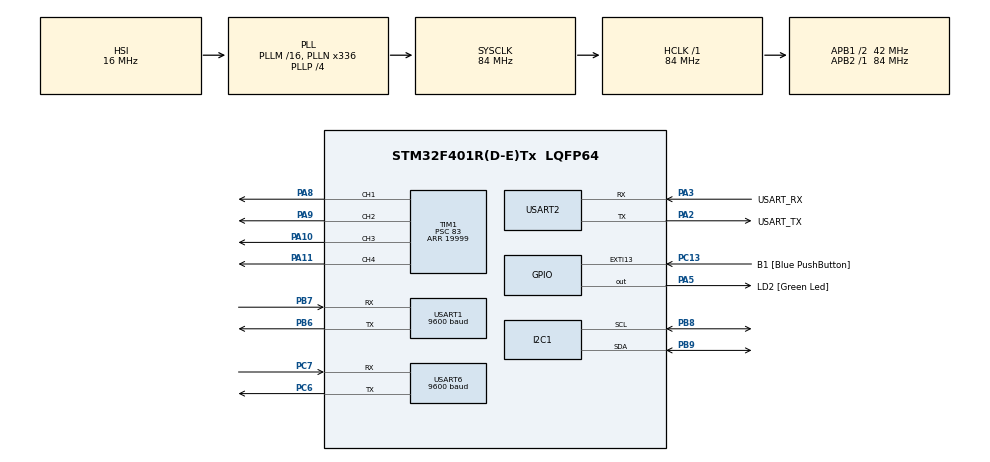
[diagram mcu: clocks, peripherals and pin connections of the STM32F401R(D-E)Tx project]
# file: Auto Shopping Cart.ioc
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Mcu.Family=STM32F4
Mcu.Name=STM32F401R(D-E)Tx
Mcu.Package=LQFP64
NVIC.PriorityGroup=NVIC_PRIORITYGROUP_0
NVIC.TIM2_IRQn=true\:0\:0\:false\:false\:true\:true\:true\:true
NVIC.TIM3_IRQn=true\:0\:0\:false\:false\:true\:true\:true\:true
NVIC.USART1_IRQn=true\:0\:0\:false\:false\:true\:true\:true\:true
NVIC.USART6_IRQn=true\:0\:0\:false\:false\:true\:true\:true\:true
PA10.Signal=S_TIM1_CH3
PA11.Signal=S_TIM1_CH4
PA13.GPIO_Label=TMS
PA13.Mode=Serial_Wire
PA13.Signal=SYS_JTMS-SWDIO
PA14.GPIO_Label=TCK
PA14.Mode=Serial_Wire
PA14.Signal=SYS_JTCK-SWCLK
PA2.GPIO_Label=USART_TX
PA2.GPIO_Mode=GPIO_MODE_AF_PP
PA2.GPIO_PuPd=GPIO_NOPULL
PA2.GPIO_Speed=GPIO_SPEED_FREQ_LOW
PA2.Mode=Asynchronous
PA2.Signal=USART2_TX
PA3.GPIO_Label=USART_RX
PA3.GPIO_Mode=GPIO_MODE_AF_PP
PA3.GPIO_PuPd=GPIO_NOPULL
PA3.GPIO_Speed=GPIO_SPEED_FREQ_LOW
PA3.Mode=Asynchronous
PA3.Signal=USART2_RX
PA5.GPIO_Label=LD2 [Green Led]
PA5.GPIO_Mode=GPIO_MODE_OUTPUT_PP
PA5.GPIO_PuPd=GPIO_NOPULL
PA5.GPIO_Speed=GPIO_SPEED_FREQ_LOW
PA5.Signal=GPIO_Output
PA8.Signal=S_TIM1_CH1
PA9.Signal=S_TIM1_CH2
PB3.GPIO_Label=SWO
PB3.Signal=SYS_JTDO-SWO
PB6.Mode=Asynchronous
PB6.Signal=USART1_TX
PB7.Mode=Asynchronous
PB7.Signal=USART1_RX
PB8.Mode=I2C
PB8.Signal=I2C1_SCL
PB9.Mode=I2C
PB9.Signal=I2C1_SDA
PC13-ANTI_TAMP.GPIO_Label=B1 [Blue PushButton]
PC13-ANTI_TAMP.GPIO_ModeDefaultEXTI=GPIO_MODE_IT_FALLING
PC13-ANTI_TAMP.GPIO_PuPd=GPIO_NOPULL
PC13-ANTI_TAMP.Signal=GPXTI13
PC14-OSC32_IN.Mode=LSE-External-Oscillator
PC14-OSC32_IN.Signal=RCC_OSC32_IN
PC15-OSC32_OUT.Mode=LSE-External-Oscillator
PC15-OSC32_OUT.Signal=RCC_OSC32_OUT
PC6.Mode=Asynchronous
PC6.Signal=USART6_TX
PC7.Mode=Asynchronous
PC7.Signal=USART6_RX
PH0\ -\ OSC_IN.Mode=HSE-External-Clock-Source
PH0\ -\ OSC_IN.Signal=RCC_OSC_IN
PH1\ -\ OSC_OUT.Mode=HSE-External-Clock-Source
PH1\ -\ OSC_OUT.Signal=RCC_OSC_OUT
ProjectManager.HeapSize=0x200
ProjectManager.StackSize=0x400
ProjectManager.TargetToolchain=STM32CubeIDE
RCC.48MHZClocksFreq_Value=48000000
RCC.AHBFreq_Value=84000000
RCC.APB1CLKDivider=RCC_HCLK_DIV2
RCC.APB1Freq_Value=42000000
RCC.APB1TimFreq_Value=84000000
RCC.APB2Freq_Value=84000000
RCC.APB2TimFreq_Value=84000000
RCC.CortexFreq_Value=84000000
RCC.HCLKFreq_Value=84000000
RCC.HSE_VALUE=8000000
RCC.HSI_VALUE=16000000
RCC.PLLN=336
RCC.PLLP=RCC_PLLP_DIV4
RCC.PLLQ=7
RCC.SYSCLKFreq_VALUE=84000000
RCC.SYSCLKSource=RCC_SYSCLKSOURCE_PLLCLK
RCC.VCOOutputFreq_Value=336000000
SH.S_TIM1_CH1.0=TIM1_CH1,PWM Generation1 CH1
SH.S_TIM1_CH2.0=TIM1_CH2,PWM Generation2 CH2
SH.S_TIM1_CH3.0=TIM1_CH3,PWM Generation3 CH3
SH.S_TIM1_CH4.0=TIM1_CH4,PWM Generation4 CH4
TIM1.Channel-PWM\ Generation1\ CH1=TIM_CHANNEL_1
TIM1.Channel-PWM\ Generation2\ CH2=TIM_CHANNEL_2
TIM1.Channel-PWM\ Generation3\ CH3=TIM_CHANNEL_3
TIM1.Channel-PWM\ Generation4\ CH4=TIM_CHANNEL_4
TIM1.Period=19999
TIM1.Prescaler=83
TIM2.Period=799
TIM2.Prescaler=8399
TIM3.Prescaler=8399
USART1.BaudRate=9600
USART1.VirtualMode=VM_ASYNC
USART2.VirtualMode=VM_ASYNC
USART6.BaudRate=9600
USART6.VirtualMode=VM_ASYNC
VP_TIM1_VS_ClockSourceINT.Mode=Internal
VP_TIM2_VS_ClockSourceINT.Mode=Internal
VP_TIM3_VS_ClockSourceINT.Mode=Internal
board=NUCLEO-F401RE

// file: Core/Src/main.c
/* USER CODE BEGIN Header */
/**
  ******************************************************************************
  * @file           : main.c
  * @brief          : Main program body
  ******************************************************************************
  * @attention
  *
  * Copyright (c) 2025 STMicroelectronics.
  * All rights reserved.
  *
  * This software is licensed under terms that can be found in the LICENSE file
  * in the root directory of this software component.
  * If no LICENSE file comes with this software, it is provided AS-IS.
  *
  ******************************************************************************
  */
/* USER CODE END Header */
#include "main.h"

/* USER CODE BEGIN Includes */
#include <stdio.h>
#include <stdbool.h>
#include "math.h"
#include "string.h"

/* USER CODE END Includes */

/* USER CODE BEGIN PD */
#define ADS1219_ADDR 		0x45 << 1

#define ADS1219_RDATA 		0x10
#define ADS1219_WREG 		0x40
#define ADS1219_STARTSYNC 	0x08

#define WEIGHT_THRESHOLD	0.040

#define TIM1_ARR 			19999

// Servos 1 and 3 on pitch axis, servos 2 and 4 on yaw axis
#define SERVO_DUTY_MIN 		650.0
#define SERVO_DUTY_BW		1700.0
#define SERVO_ANGLE_MAX		180

#define SERVO1_START 		0
#define SERVO1_END			93
#define SERVO1_MAX_SPEED	12

#define SERVO2_START		30
#define SERVO2_END			160
#define SERVO2_SPEED		0.75

#define SERVO3_START 		0
#define SERVO3_END			93
#define SERVO3_MAX_SPEED	12

#define SERVO4_START		30
#define SERVO4_END			160
#define SERVO4_SPEED		0.75

#define FINAL_SWEEP_COUNTS	20

#define MAX_BARCODE_LEN		20
#define MAX_BARCODES		100

/* USER CODE END PD */

I2C_HandleTypeDef hi2c1;

TIM_HandleTypeDef htim1;
TIM_HandleTypeDef htim2;
TIM_HandleTypeDef htim3;

UART_HandleTypeDef huart1;
UART_HandleTypeDef huart2;
UART_HandleTypeDef huart6;

/* USER CODE BEGIN PV */
// Flags for determining which step of the automation process to run
bool servoFlag = false;
bool scannersEnable = false;
bool resetScanners = true;

bool recordWeightFlag = false;
bool scaleEnable = true;

// Placeholder/variables for handling UART transmissions
uint8_t uartRxBuffer[MAX_BARCODES][MAX_BARCODE_LEN] = {0};
uint8_t uartTxBuffer[MAX_BARCODE_LEN + 2] = {0};
uint8_t txLen = 0;
volatile uint8_t barcodeIndex = 0;
volatile uint8_t charIndex = 0;
uint8_t rxChar;

// Local database of known barcodes and their corresponding weights
// In order: Lime juice, cereal box, pasta bag, "milk"
uint8_t codesDatabase[5][MAX_BARCODE_LEN] = {"065912581221", "064100147638", "067800007141", "066800004020"};
uint16_t weightsDatabase[5] = {498, 463, 807, 1904};

/* USER CODE END PV */

void SystemClock_Config(void);
static void MX_GPIO_Init(void);
static void MX_USART2_UART_Init(void);
static void MX_TIM1_Init(void);
static void MX_TIM2_Init(void);
static void MX_I2C1_Init(void);
static void MX_TIM3_Init(void);
static void MX_USART1_UART_Init(void);
static void MX_USART6_UART_Init(void);
/* USER CODE BEGIN PFP */
void SetServoAngle (uint32_t channel, uint8_t angle);
uint8_t inList(uint8_t *string, uint8_t (*strList)[MAX_BARCODE_LEN]);
float max(float a, float b);
uint32_t maxInt(uint32_t a, uint32_t b);

/* USER CODE END PFP */

/* USER CODE BEGIN 0 */
// Redirecting the printf function to print to the console (over UART2)
int _write(int file, char *data, int len) {
    // Redirect printf to UART
    HAL_UART_Transmit(&huart2, (uint8_t*)data, len, HAL_MAX_DELAY);
    return len;
}
/* USER CODE END 0 */

int main(void)
{

  /* MCU Configuration--------------------------------------------------------*/

  /* Reset of all peripherals, Initializes the Flash interface and the Systick. */
  HAL_Init();

  /* Configure the system clock */
  SystemClock_Config();

  /* Initialize all configured peripherals */
  MX_GPIO_Init();
  MX_USART2_UART_Init();
  MX_TIM1_Init();
  MX_TIM2_Init();
  MX_I2C1_Init();
  MX_TIM3_Init();
  MX_USART1_UART_Init();
  MX_USART6_UART_Init();
  /* USER CODE BEGIN 2 */
  // Initializing variables for servo motor control
  uint8_t servoAng1 = SERVO1_START;
  uint8_t servoDir1 = 1;
  uint8_t servoSpeed1 = 0;
  float servoSpeedCalc1 = 0;

  float servoAng2 = SERVO2_START;
  uint8_t servoDir2 = 1;

  uint8_t servoAng3 = SERVO3_START;
  uint8_t servoDir3 = 1;
  uint8_t servoSpeed3 = 0;
  float servoSpeedCalc3 = 0;

  float servoAng4 = SERVO2_START;
  uint8_t servoDir4 = 1;

  bool finalSweep = false;
  uint8_t finalSweepCount =  0;

  // Buffers for TX/RX data of I2C bus
  uint8_t txData[3] = {0};
  uint8_t rxData[3] = {0};

  // Variables and arrays for storing load cell readings
  int32_t rawLoadCell1 = 0;
  int32_t rawLoadCell2 = 0;

  int32_t LoadCell1_Offset = 0;
  int32_t LoadCell2_OffsetA = 0;
  int32_t LoadCell2_OffsetB = 0;

  int32_t rawData1[25] = {0};
  int32_t rawData2[25] = {0};
  int32_t avg1 = 0;
  int32_t avg2 = 0;

  float lsbToKg = 0.000256;
  float kilograms = 0;
  float prevKilograms = 0;
  float recordedWeight = 0;
  float totalWeight = 0;
  char weightMsg[20] = {0};

  // Arrays to track barcodes for items currently in the cart and prioritize scanned barcodes
  uint8_t cartCodes[MAX_BARCODES][MAX_BARCODE_LEN] = {0};
  uint8_t cartNumItems = 0;
  uint8_t priorities[MAX_BARCODES] = {0};
  uint8_t sendCodes[MAX_BARCODES] = {0};
  float remainingWeight = 0;
  float itemWeight = 0;
  bool sentCode = false;

  // Configure the ADS1219 to do continuous conversion, start with AIN0/1 load cell, use internal 2.048V reference and 90 SPS data rate
  txData[0] = ADS1219_WREG;
  txData[1] = 0x16;
  HAL_I2C_Master_Transmit(&hi2c1, ADS1219_ADDR, txData, 2, HAL_MAX_DELAY);

  // Send the START/SYNC command to start continuous conversions
  txData[0] = ADS1219_STARTSYNC;
  HAL_I2C_Master_Transmit(&hi2c1, ADS1219_ADDR, txData, 1, HAL_MAX_DELAY);

  // Average 100 measurements to get the offset for each load cell
  for (int i = 0; i < 100; i++) {
	  // Configure ADS1219 MUX to measure AIN0/1 load cell
	  txData[0] = ADS1219_WREG;
	  txData[1] = 0x16;
	  HAL_I2C_Master_Transmit(&hi2c1, ADS1219_ADDR, txData, 2, HAL_MAX_DELAY);
	  // Wait a bit to take the measurements
	  HAL_Delay(15);
	  // Read the measurement and store it
	  txData[0] = ADS1219_RDATA;
	  HAL_I2C_Master_Transmit(&hi2c1, ADS1219_ADDR, txData, 1, HAL_MAX_DELAY);
	  rxData[0] = 0x00;
	  rxData[1] = 0x00;
	  rxData[2] = 0x00;
	  HAL_I2C_Master_Receive(&hi2c1, ADS1219_ADDR, rxData, 3, HAL_MAX_DELAY);
	  rawLoadCell1 = (rxData[0] << 16) | (rxData[1] << 8) | rxData[2];
	  avg1 += rawLoadCell1;

	  // Configure ADS1115 MUX to measure AIN2/3 load cell
	  txData[0] = ADS1219_WREG;
	  txData[1] = 0x36;
	  HAL_I2C_Master_Transmit(&hi2c1, ADS1219_ADDR, txData, 2, HAL_MAX_DELAY);
	  // Wait a bit to take the measurements
	  HAL_Delay(15);
	  // Read the measurement and store it
	  txData[0] = ADS1219_RDATA;
	  HAL_I2C_Master_Transmit(&hi2c1, ADS1219_ADDR, txData, 1, HAL_MAX_DELAY);
	  rxData[0] = 0x00;
	  rxData[1] = 0x00;
	  rxData[2] = 0x00;
	  HAL_I2C_Master_Receive(&hi2c1, ADS1219_ADDR, rxData, 3, HAL_MAX_DELAY);
	  rawLoadCell2 = (rxData[0] << 16) | (rxData[1] << 8) | rxData[2];
	  avg2 += rawLoadCell2;
  }

  avg1 = avg1/100;
  avg2 = avg2/100;
  LoadCell1_Offset = avg1;
  LoadCell2_OffsetA = avg2;
  LoadCell2_OffsetB = avg2;

//  printf("Calculated the following offsets: %ld for cell A, %ld for cell B\r\n", LoadCell1_Offset, LoadCell2_OffsetA);

  // Startup for servo motors
  HAL_TIM_PWM_Start(&htim1, TIM_CHANNEL_1);
  HAL_TIM_PWM_Start(&htim1, TIM_CHANNEL_2);
  HAL_TIM_PWM_Start(&htim1, TIM_CHANNEL_3);
  HAL_TIM_PWM_Start(&htim1, TIM_CHANNEL_4);
  SetServoAngle(TIM_CHANNEL_1, SERVO1_START);
  SetServoAngle(TIM_CHANNEL_2, SERVO2_START);
  SetServoAngle(TIM_CHANNEL_3, SERVO3_START);
  SetServoAngle(TIM_CHANNEL_4, SERVO4_START);
  HAL_Delay(3000);
  HAL_TIM_Base_Start_IT(&htim2);
  HAL_TIM_Base_Start_IT(&htim3);

  /* USER CODE END 2 */

  /* Infinite loop */
  /* USER CODE BEGIN WHILE */
  while (1)
  {
	  // Reset position of barcode scanners if flagged to do so
	  if (resetScanners) {
		  SetServoAngle(TIM_CHANNEL_1, SERVO1_START);
		  SetServoAngle(TIM_CHANNEL_2, SERVO2_START);
		  SetServoAngle(TIM_CHANNEL_3, SERVO3_START);
		  SetServoAngle(TIM_CHANNEL_4, SERVO4_START);

		  servoAng1 = SERVO1_START;
		  servoDir1 = 1;
		  servoSpeed1 = 0;
		  servoSpeedCalc1 = 0;
		  servoAng2 = SERVO2_START;
		  servoDir2 = 1;
		  servoAng3 = SERVO3_START;
		  servoDir1 = 1;
		  servoSpeed3 = 0;
		  servoSpeedCalc3 = 0;
		  servoAng4 = SERVO4_START;
		  servoDir4 = 1;
		  finalSweep = false;
		  finalSweepCount = 0;

		  resetScanners = false;
		  scaleEnable = true;

		  // Disable any reception from barcode scanners over UART
		  HAL_UART_DeInit(&huart1);
		  HAL_UART_DeInit(&huart6);

//		  printf("\nScan complete, resetting scanner position...\r\n");
	  }
	  // Sweep the barcode scanners across the cart
	  if (scannersEnable) {
		  // Update servo positions when timer interrupt flag raised
		  if (servoFlag) {
			  servoFlag = 0;

			  // Servo 1 & 3 (pitch axis): Update speed using a quadratic equation
			  servoSpeedCalc1 = SERVO1_MAX_SPEED*(-0.000395501*servoAng1*servoAng1 + 0.0379681*servoAng1 + 0.0896552);
			  servoSpeed1 = ((uint8_t)servoSpeedCalc1);
			  servoAng1 += servoSpeed1*servoDir1;

			  servoSpeedCalc3 = SERVO3_MAX_SPEED*(-0.000395501*servoAng3*servoAng3 + 0.0379681*servoAng3 + 0.0896552);
			  servoSpeed3 = ((uint8_t)servoSpeedCalc3);
			  servoAng3 += servoSpeed3*servoDir3;
			  // Switch direction if max/min value reached
			  if (servoAng1 >= SERVO1_END) servoDir1 = -1;
			  if (servoAng1 <= SERVO1_START) servoDir1 = 1;
			  if (servoAng3 >= SERVO3_END) servoDir3 = -1;
			  if (servoAng3 <= SERVO3_START) servoDir3 = 1;

			  SetServoAngle(TIM_CHANNEL_1, servoAng1);
			  SetServoAngle(TIM_CHANNEL_3, servoAng3);

			  // Servo 2 & 4 (yaw axis): Increment position by speed value
			  if (servoAng2 <= SERVO2_END) servoAng2 += SERVO2_SPEED*servoDir2;
			  if (servoAng4 <= SERVO4_END) servoAng4 += SERVO4_SPEED*servoDir4;
			  // If max value reached on yaw axis, reset the scanners (sweep is complete) and re-enable the scale
//			  if (servoAng2 >= SERVO2_END || servoAng4 >= SERVO4_END) {
//				  scannersEnable = false;
//				  resetScanners = true;
//			  }
			  // If max value reached on yaw axis, do one final sweep then reset the scanners and re-enable the scale
			  if (servoAng2 >= SERVO2_END || servoAng4 >= SERVO4_END) {
				  finalSweep = true;
			  }
			  if (finalSweep) {
				  finalSweepCount += 1;
			  }
			  if (finalSweepCount >= FINAL_SWEEP_COUNTS) {
				  scannersEnable = false;
				  resetScanners = true;

				  // Output all barcodes received
//				  if (barcodeIndex > 0) {
////					  printf("\nReceived %d barcodes:\r\n", barcodeIndex);
//					  for (int i = 0; i < barcodeIndex; i++) {
//						  for (int j = 0; j < MAX_BARCODE_LEN; j++) {
//							  if (uartRxBuffer[i][j] == '\0') {
//								  txLen = j-1;
//								  break;
//							  }
//							  uartTxBuffer[j] = uartRxBuffer[i][j];
//						  }
//						  HAL_UART_Transmit(&huart2, uartTxBuffer, (txLen + 1), HAL_MAX_DELAY);
//						  HAL_UART_Transmit(&huart2, (uint8_t*)"\r\n", 2, HAL_MAX_DELAY);
//					  }
//					  barcodeIndex = 0;
//				  }
				  // Loop through all scanned barcodes, assign priorities based on likelihood of it being a new item
				  remainingWeight = recordedWeight; // Keep track of remaining weight from measured value
				  for (int i = 0; i < barcodeIndex; i++) {
					  // Priority 1: Item exists in database but is not in cart
					  if (inList(uartRxBuffer[i], codesDatabase) && !inList(uartRxBuffer[i], cartCodes)) {
						  priorities[i] = 1;
						  // Append this item to the end of the list of cart codes
						  strncpy(cartCodes[cartNumItems], uartRxBuffer[i], MAX_BARCODE_LEN);
						  cartNumItems++;
						  // Subtract the weight of this product from the remaining weight
						  remainingWeight -= weightsDatabase[inList(uartRxBuffer[i], codesDatabase) - 1];
					  }
					  // Priority 2 or 3: Item exists in database and 1 or more of that item is in the cart, higher priority to items whose weight exactly matches measured weight (within 5% tolerance)
					  else if (inList(uartRxBuffer[i], codesDatabase) && inList(uartRxBuffer[i], cartCodes)) {
						  itemWeight = weightsDatabase[inList(uartRxBuffer[i], codesDatabase) - 1];
						  if (recordedWeight > (itemWeight - max(1000*WEIGHT_THRESHOLD, 0.05*itemWeight)) && recordedWeight < (itemWeight + max(1000*WEIGHT_THRESHOLD, 0.05*itemWeight))) priorities[i] = 2;
						  else priorities[i] = 3;
					  }
					  // If none of the above apply, reset the priority for this index
					  else priorities[i] = 0;
				  }
				  // Loop through all priorities (lower numbers first) and decide whether or not to send the barcode
				  for (int i = 0; i < barcodeIndex; i++) {
					  if (priorities[i] == 1) {
						  // All priority 1 items are sent no matter what
						  sendCodes[i] = 1;
					  }
				  }
				  for (int i = 0; i < barcodeIndex; i++) {
					  // Only send priority 2 items if the remaining weight is sufficient
					  if (priorities[i] == 2) {
						  itemWeight = weightsDatabase[inList(uartRxBuffer[i], codesDatabase) - 1];
						  if (remainingWeight > (itemWeight + max(1000*WEIGHT_THRESHOLD, itemWeight*0.05))) {
							  sendCodes[i] = 1;
							  // Append this item to the end of the list of cart codes
							  strncpy(cartCodes[cartNumItems], uartRxBuffer[i], MAX_BARCODE_LEN);
							  cartNumItems++;
							  // Subtract the weight of this product from the remaining weight
							  remainingWeight -= itemWeight;
						  }
					  }
				  }
				  for (int i = 0; i < barcodeIndex; i++) {
					  // Only send priority 3 items if the remaining weight is sufficient
					  if (priorities[i] == 3) {
						  itemWeight = weightsDatabase[inList(uartRxBuffer[i], codesDatabase) - 1];
						  if (remainingWeight > (itemWeight + max(1000*WEIGHT_THRESHOLD, itemWeight*0.05))) {
							  sendCodes[i] = 1;
							  // Append this item to the end of the list of cart codes
							  strncpy(cartCodes[cartNumItems], uartRxBuffer[i], MAX_BARCODE_LEN);
							  cartNumItems++;
							  // Subtract the weight of this product from the remaining weight
							  remainingWeight -= itemWeight;
						  }
					  }
				  }

				  // Transmit all the codes flagged to be sent to the ESP32
				  sentCode = false;
				  for (int i = 0; i < barcodeIndex; i++) {
					  if (sendCodes[i] == 1) {
						  // Flag that a code was sent
						  sentCode = true;
						  // Transmit start of barcode character
						  HAL_UART_Transmit(&huart2, (uint8_t*)"C", 1, HAL_MAX_DELAY);
						  for (int j = 0; j < MAX_BARCODE_LEN; j++) {
							  uartTxBuffer[j] = uartRxBuffer[i][j];
							  if (uartRxBuffer[i][j] == '\0') {
								  txLen = j;
								  break;
							  }
						  }
						  HAL_UART_Transmit(&huart2, uartTxBuffer, (txLen + 1), HAL_MAX_DELAY);
					  }
				  }
				  // Send a dummy barcode in the event where no barcodes were found
//				  if (barcodeIndex == 0) HAL_UART_Transmit(&huart2, (uint8_t*)"C000000000000\0", 14, HAL_MAX_DELAY);
				  // Transmit end of transmission character (only if something was scanned)
				  if (sentCode) HAL_UART_Transmit(&huart2, (uint8_t*)"\r", 1, HAL_MAX_DELAY);

				  barcodeIndex = 0; // Reset barcode index
			  }

			  SetServoAngle(TIM_CHANNEL_2, servoAng2);
			  SetServoAngle(TIM_CHANNEL_4, servoAng4);
		  }
	  }
	  // Average 25 measurements (over approx. 1 second) to get the reading from each load cell.
	  if (scaleEnable) {
		  prevKilograms = kilograms;
		  HAL_Delay(100);
		  for (int i = 0; i < 25; i++) {
			  // Configure ADS1219 MUX to measure AIN0/1 load cell
			  txData[0] = ADS1219_WREG;
			  txData[1] = 0x16;
			  HAL_I2C_Master_Transmit(&hi2c1, ADS1219_ADDR, txData, 2, HAL_MAX_DELAY);
			  // Wait a bit to take the measurements
			  HAL_Delay(15);
			  // Read the measurement and store it
			  txData[0] = ADS1219_RDATA;
			  HAL_I2C_Master_Transmit(&hi2c1, ADS1219_ADDR, txData, 1, HAL_MAX_DELAY);
			  rxData[0] = 0x00;
			  rxData[1] = 0x00;
			  rxData[2] = 0x00;
			  HAL_I2C_Master_Receive(&hi2c1, ADS1219_ADDR, rxData, 3, HAL_MAX_DELAY);
			  rawLoadCell1 = (rxData[0] << 16) | (rxData[1] << 8) | rxData[2];
			  rawData1[i] = rawLoadCell1 - LoadCell1_Offset;

			  // Configure ADS1115 MUX to measure AIN2/3 load cell
			  txData[0] = ADS1219_WREG;
			  txData[1] = 0x36;
			  HAL_I2C_Master_Transmit(&hi2c1, ADS1219_ADDR, txData, 2, HAL_MAX_DELAY);
			  // Wait a bit to take the measurements
			  HAL_Delay(15);
			  // Read the measurement and store it
			  txData[0] = ADS1219_RDATA;
			  HAL_I2C_Master_Transmit(&hi2c1, ADS1219_ADDR, txData, 1, HAL_MAX_DELAY);
			  rxData[0] = 0x00;
			  rxData[1] = 0x00;
			  rxData[2] = 0x00;
			  HAL_I2C_Master_Receive(&hi2c1, ADS1219_ADDR, rxData, 3, HAL_MAX_DELAY);
			  rawLoadCell2 = (rxData[0] << 16) | (rxData[1] << 8) | rxData[2];
			  // Applying offset on load cell B based on if it overflowed or not
			  if (rawLoadCell2 > 16700000) rawData2[i] = rawLoadCell2 - LoadCell2_OffsetA;
			  else rawData2[i] = rawLoadCell2 - LoadCell2_OffsetB;
		  }
		  avg1 = 0;
		  avg2 = 0;
		  for (int i = 0; i < 25; i++) {
			  avg1 += rawData1[i];
			  avg2 += rawData2[i];
		  }
		  avg1 = avg1/-25;
		  avg2 = avg2/25; // Load cell B is mounted in opposite direction, so sign is flipped to get the same sign when summing both
		  kilograms = (avg1 + avg2)*lsbToKg;
//		  printf("\nMeasured weight of %.5f kilograms\r\n", kilograms);

		  // Save the weight if required
		  if (recordWeightFlag == true) {
			  recordedWeight = kilograms;
			  totalWeight += recordedWeight;
			  // Stop the scale and start the barcode scanners
			  scannersEnable = true;
			  scaleEnable = false;
			  recordWeightFlag = false;
//			  printf("Weight of product added to cart: %.5f kilograms\r\nTotal cart weight: %.5f\r\n", recordedWeight, totalWeight);
			  // Send weight information to ESP32
//			  printf("W%.3f\0\r", recordedWeight);
			  snprintf(weightMsg, sizeof(weightMsg), "W%.3f", recordedWeight);
			  HAL_UART_Transmit(&huart2, (uint8_t*)weightMsg, strlen(weightMsg), HAL_MAX_DELAY);
			  // Transmit end of transmission character
			  HAL_UART_Transmit(&huart2, (uint8_t*)"\r", 1, HAL_MAX_DELAY);

			  // Re-initialize and begin receiving from both UART channels
			  HAL_UART_Init(&huart1);
			  HAL_UART_Init(&huart6);
			  HAL_UART_Receive_IT(&huart1, &rxChar, 1);
			  HAL_UART_Receive_IT(&huart6, &rxChar, 1);
		  }

		  // Check if current weight is greater than previous weight by the established threshold (25g)
		  if (kilograms > (totalWeight + WEIGHT_THRESHOLD) && recordWeightFlag == false) {
			  recordWeightFlag = true;
		  }
	  }

    /* USER CODE END WHILE */

  }
}

void SystemClock_Config(void)
{
  RCC_OscInitTypeDef RCC_OscInitStruct = {0};
  RCC_ClkInitTypeDef RCC_ClkInitStruct = {0};

  /** Configure the main internal regulator output voltage
  */
  __HAL_RCC_PWR_CLK_ENABLE();
  __HAL_PWR_VOLTAGESCALING_CONFIG(PWR_REGULATOR_VOLTAGE_SCALE2);

  /** Initializes the RCC Oscillators according to the specified parameters
  * in the RCC_OscInitTypeDef structure.
  */
  RCC_OscInitStruct.OscillatorType = RCC_OSCILLATORTYPE_HSI;
  RCC_OscInitStruct.HSIState = RCC_HSI_ON;
  RCC_OscInitStruct.HSICalibrationValue = RCC_HSICALIBRATION_DEFAULT;
  RCC_OscInitStruct.PLL.PLLState = RCC_PLL_ON;
  RCC_OscInitStruct.PLL.PLLSource = RCC_PLLSOURCE_HSI;
  RCC_OscInitStruct.PLL.PLLM = 16;
  RCC_OscInitStruct.PLL.PLLN = 336;
  RCC_OscInitStruct.PLL.PLLP = RCC_PLLP_DIV4;
  RCC_OscInitStruct.PLL.PLLQ = 7;
  if (HAL_RCC_OscConfig(&RCC_OscInitStruct) != HAL_OK)
  {
    Error_Handler();
  }

  /** Initializes the CPU, AHB and APB buses clocks
  */
  RCC_ClkInitStruct.ClockType = RCC_CLOCKTYPE_HCLK|RCC_CLOCKTYPE_SYSCLK
                              |RCC_CLOCKTYPE_PCLK1|RCC_CLOCKTYPE_PCLK2;
  RCC_ClkInitStruct.SYSCLKSource = RCC_SYSCLKSOURCE_PLLCLK;
  RCC_ClkInitStruct.AHBCLKDivider = RCC_SYSCLK_DIV1;
  RCC_ClkInitStruct.APB1CLKDivider = RCC_HCLK_DIV2;
  RCC_ClkInitStruct.APB2CLKDivider = RCC_HCLK_DIV1;

  if (HAL_RCC_ClockConfig(&RCC_ClkInitStruct, FLASH_LATENCY_2) != HAL_OK)
  {
    Error_Handler();
  }
}

static void MX_I2C1_Init(void)
{

  hi2c1.Instance = I2C1;
  hi2c1.Init.ClockSpeed = 100000;
  hi2c1.Init.DutyCycle = I2C_DUTYCYCLE_2;
  hi2c1.Init.OwnAddress1 = 0;
  hi2c1.Init.AddressingMode = I2C_ADDRESSINGMODE_7BIT;
  hi2c1.Init.DualAddressMode = I2C_DUALADDRESS_DISABLE;
  hi2c1.Init.OwnAddress2 = 0;
  hi2c1.Init.GeneralCallMode = I2C_GENERALCALL_DISABLE;
  hi2c1.Init.NoStretchMode = I2C_NOSTRETCH_DISABLE;
  if (HAL_I2C_Init(&hi2c1) != HAL_OK)
  {
    Error_Handler();
  }

}

static void MX_TIM1_Init(void)
{

  TIM_ClockConfigTypeDef sClockSourceConfig = {0};
  TIM_MasterConfigTypeDef sMasterConfig = {0};
  TIM_OC_InitTypeDef sConfigOC = {0};
  TIM_BreakDeadTimeConfigTypeDef sBreakDeadTimeConfig = {0};

  htim1.Instance = TIM1;
  htim1.Init.Prescaler = 83;
  htim1.Init.CounterMode = TIM_COUNTERMODE_UP;
  htim1.Init.Period = 19999;
  htim1.Init.ClockDivision = TIM_CLOCKDIVISION_DIV1;
  htim1.Init.RepetitionCounter = 0;
  htim1.Init.AutoReloadPreload = TIM_AUTORELOAD_PRELOAD_DISABLE;
  if (HAL_TIM_Base_Init(&htim1) != HAL_OK)
  {
    Error_Handler();
  }
  sClockSourceConfig.ClockSource = TIM_CLOCKSOURCE_INTERNAL;
  if (HAL_TIM_ConfigClockSource(&htim1, &sClockSourceConfig) != HAL_OK)
  {
    Error_Handler();
  }
  if (HAL_TIM_PWM_Init(&htim1) != HAL_OK)
  {
    Error_Handler();
  }
  sMasterConfig.MasterOutputTrigger = TIM_TRGO_RESET;
  sMasterConfig.MasterSlaveMode = TIM_MASTERSLAVEMODE_DISABLE;
  if (HAL_TIMEx_MasterConfigSynchronization(&htim1, &sMasterConfig) != HAL_OK)
  {
    Error_Handler();
  }
  sConfigOC.OCMode = TIM_OCMODE_PWM1;
  sConfigOC.Pulse = 0;
  sConfigOC.OCPolarity = TIM_OCPOLARITY_HIGH;
  sConfigOC.OCNPolarity = TIM_OCNPOLARITY_HIGH;
  sConfigOC.OCFastMode = TIM_OCFAST_DISABLE;
  sConfigOC.OCIdleState = TIM_OCIDLESTATE_RESET;
  sConfigOC.OCNIdleState = TIM_OCNIDLESTATE_RESET;
  if (HAL_TIM_PWM_ConfigChannel(&htim1, &sConfigOC, TIM_CHANNEL_1) != HAL_OK)
  {
    Error_Handler();
  }
  if (HAL_TIM_PWM_ConfigChannel(&htim1, &sConfigOC, TIM_CHANNEL_2) != HAL_OK)
  {
    Error_Handler();
  }
  if (HAL_TIM_PWM_ConfigChannel(&htim1, &sConfigOC, TIM_CHANNEL_3) != HAL_OK)
  {
    Error_Handler();
  }
  if (HAL_TIM_PWM_ConfigChannel(&htim1, &sConfigOC, TIM_CHANNEL_4) != HAL_OK)
  {
    Error_Handler();
  }
  sBreakDeadTimeConfig.OffStateRunMode = TIM_OSSR_DISABLE;
  sBreakDeadTimeConfig.OffStateIDLEMode = TIM_OSSI_DISABLE;
  sBreakDeadTimeConfig.LockLevel = TIM_LOCKLEVEL_OFF;
  sBreakDeadTimeConfig.DeadTime = 0;
  sBreakDeadTimeConfig.BreakState = TIM_BREAK_DISABLE;
  sBreakDeadTimeConfig.BreakPolarity = TIM_BREAKPOLARITY_HIGH;
  sBreakDeadTimeConfig.AutomaticOutput = TIM_AUTOMATICOUTPUT_DISABLE;
  if (HAL_TIMEx_ConfigBreakDeadTime(&htim1, &sBreakDeadTimeConfig) != HAL_OK)
  {
    Error_Handler();
  }
  HAL_TIM_MspPostInit(&htim1);

}

static void MX_TIM2_Init(void)
{

  TIM_ClockConfigTypeDef sClockSourceConfig = {0};
  TIM_MasterConfigTypeDef sMasterConfig = {0};

  htim2.Instance = TIM2;
  htim2.Init.Prescaler = 8399;
  htim2.Init.CounterMode = TIM_COUNTERMODE_UP;
  htim2.Init.Period = 999;
  htim2.Init.ClockDivision = TIM_CLOCKDIVISION_DIV1;
  htim2.Init.AutoReloadPreload = TIM_AUTORELOAD_PRELOAD_DISABLE;
  if (HAL_TIM_Base_Init(&htim2) != HAL_OK)
  {
    Error_Handler();
  }
  sClockSourceConfig.ClockSource = TIM_CLOCKSOURCE_INTERNAL;
  if (HAL_TIM_ConfigClockSource(&htim2, &sClockSourceConfig) != HAL_OK)
  {
    Error_Handler();
  }
  sMasterConfig.MasterOutputTrigger = TIM_TRGO_RESET;
  sMasterConfig.MasterSlaveMode = TIM_MASTERSLAVEMODE_DISABLE;
  if (HAL_TIMEx_MasterConfigSynchronization(&htim2, &sMasterConfig) != HAL_OK)
  {
    Error_Handler();
  }

}

static void MX_TIM3_Init(void)
{

  TIM_ClockConfigTypeDef sClockSourceConfig = {0};
  TIM_MasterConfigTypeDef sMasterConfig = {0};

  htim3.Instance = TIM3;
  htim3.Init.Prescaler = 8399;
  htim3.Init.CounterMode = TIM_COUNTERMODE_UP;
  htim3.Init.Period = 65535;
  htim3.Init.ClockDivision = TIM_CLOCKDIVISION_DIV1;
  htim3.Init.AutoReloadPreload = TIM_AUTORELOAD_PRELOAD_DISABLE;
  if (HAL_TIM_Base_Init(&htim3) != HAL_OK)
  {
    Error_Handler();
  }
  sClockSourceConfig.ClockSource = TIM_CLOCKSOURCE_INTERNAL;
  if (HAL_TIM_ConfigClockSource(&htim3, &sClockSourceConfig) != HAL_OK)
  {
    Error_Handler();
  }
  sMasterConfig.MasterOutputTrigger = TIM_TRGO_RESET;
  sMasterConfig.MasterSlaveMode = TIM_MASTERSLAVEMODE_DISABLE;
  if (HAL_TIMEx_MasterConfigSynchronization(&htim3, &sMasterConfig) != HAL_OK)
  {
    Error_Handler();
  }

}

static void MX_USART1_UART_Init(void)
{

  huart1.Instance = USART1;
  huart1.Init.BaudRate = 9600;
  huart1.Init.WordLength = UART_WORDLENGTH_8B;
  huart1.Init.StopBits = UART_STOPBITS_1;
  huart1.Init.Parity = UART_PARITY_NONE;
  huart1.Init.Mode = UART_MODE_TX_RX;
  huart1.Init.HwFlowCtl = UART_HWCONTROL_NONE;
  huart1.Init.OverSampling = UART_OVERSAMPLING_16;
  if (HAL_UART_Init(&huart1) != HAL_OK)
  {
    Error_Handler();
  }

}

static void MX_USART2_UART_Init(void)
{

  huart2.Instance = USART2;
  huart2.Init.BaudRate = 115200;
  huart2.Init.WordLength = UART_WORDLENGTH_8B;
  huart2.Init.StopBits = UART_STOPBITS_1;
  huart2.Init.Parity = UART_PARITY_NONE;
  huart2.Init.Mode = UART_MODE_TX_RX;
  huart2.Init.HwFlowCtl = UART_HWCONTROL_NONE;
  huart2.Init.OverSampling = UART_OVERSAMPLING_16;
  if (HAL_UART_Init(&huart2) != HAL_OK)
  {
    Error_Handler();
  }

}

static void MX_USART6_UART_Init(void)
{

  huart6.Instance = USART6;
  huart6.Init.BaudRate = 9600;
  huart6.Init.WordLength = UART_WORDLENGTH_8B;
  huart6.Init.StopBits = UART_STOPBITS_1;
  huart6.Init.Parity = UART_PARITY_NONE;
  huart6.Init.Mode = UART_MODE_TX_RX;
  huart6.Init.HwFlowCtl = UART_HWCONTROL_NONE;
  huart6.Init.OverSampling = UART_OVERSAMPLING_16;
  if (HAL_UART_Init(&huart6) != HAL_OK)
  {
    Error_Handler();
  }

}

static void MX_GPIO_Init(void)
{
  GPIO_InitTypeDef GPIO_InitStruct = {0};

  /* GPIO Ports Clock Enable */
  __HAL_RCC_GPIOC_CLK_ENABLE();
  __HAL_RCC_GPIOH_CLK_ENABLE();
  __HAL_RCC_GPIOA_CLK_ENABLE();
  __HAL_RCC_GPIOB_CLK_ENABLE();

  /*Configure GPIO pin Output Level */
  HAL_GPIO_WritePin(LD2_GPIO_Port, LD2_Pin, GPIO_PIN_RESET);

  /*Configure GPIO pin : B1_Pin */
  GPIO_InitStruct.Pin = B1_Pin;
  GPIO_InitStruct.Mode = GPIO_MODE_IT_FALLING;
  GPIO_InitStruct.Pull = GPIO_NOPULL;
  HAL_GPIO_Init(B1_GPIO_Port, &GPIO_InitStruct);

  /*Configure GPIO pin : LD2_Pin */
  GPIO_InitStruct.Pin = LD2_Pin;
  GPIO_InitStruct.Mode = GPIO_MODE_OUTPUT_PP;
  GPIO_InitStruct.Pull = GPIO_NOPULL;
  GPIO_InitStruct.Speed = GPIO_SPEED_FREQ_LOW;
  HAL_GPIO_Init(LD2_GPIO_Port, &GPIO_InitStruct);

}

/* USER CODE BEGIN 4 */
/**
 * Function to set the angle of a servo motor by calculating and setting the required PWM duty cycle
 * @param channel Which PWM channel to set (i.e. which servo motor to set the angle for)
 * @param angle Angle (between 0º and 180º) to set the servo motor to
 */
void SetServoAngle (uint32_t channel, uint8_t angle) {
	if (angle >= SERVO_ANGLE_MAX) angle = SERVO_ANGLE_MAX;
	uint16_t dutyCycle = ((double)angle / 180.0)*SERVO_DUTY_BW + SERVO_DUTY_MIN;

	switch(channel) {
		case TIM_CHANNEL_1:
			__HAL_TIM_SET_COMPARE(&htim1, TIM_CHANNEL_1, dutyCycle);
			break;
		case TIM_CHANNEL_2:
			__HAL_TIM_SET_COMPARE(&htim1, TIM_CHANNEL_2, dutyCycle);
			break;
		case TIM_CHANNEL_3:
			__HAL_TIM_SET_COMPARE(&htim1, TIM_CHANNEL_3, dutyCycle);
		case TIM_CHANNEL_4:
			__HAL_TIM_SET_COMPARE(&htim1, TIM_CHANNEL_4, dutyCycle);
		default:
			break;
	}
}

/**
 * Function to check if a string exists in a list of strings
 * @param string String to look for in the list
 * @param strList List of strings to check
 * @retval Position where item was found (0 if not found) (not to be confused with index)
 */
uint8_t inList(uint8_t *string, uint8_t (*strList)[MAX_BARCODE_LEN]) {
	for (int i = 0; i < sizeof(strList); i++) {
		if (strcmp(string, strList[i]) == 0) return i+1;
	}
	return false;
}

uint32_t maxInt(uint32_t a, uint32_t b) {
    if (a > b) return a;
    return b;
}

float max(float a, float b) {
    if (a > b) return a;
    return b;
}

void TIM2_IRQHandler(void) {
  servoFlag = 1;
  HAL_TIM_IRQHandler(&htim2);
}

void TIM3_IRQHandler(void) {
  HAL_TIM_IRQHandler(&htim3);
}

void HAL_UART_RxCpltCallback(UART_HandleTypeDef *huart) {
    if (huart->Instance == USART1) {  // Check if it's USART1
        if (rxChar == '\n' || rxChar == '\r') {  // End of message determined by newline or return
            uartRxBuffer[barcodeIndex][charIndex] = '\0';  // Null-terminate the message
            barcodeIndex++;  // Move to the next barcode slot
            charIndex = 0;  // Reset character index

            if (barcodeIndex >= MAX_BARCODES) {  // Prevent buffer overflow
                barcodeIndex = 0;  // Overwrite old messages (circular buffer)
            }
        } else {  // Store character
            if (charIndex < MAX_BARCODE_LEN - 1) {  // Prevent overflow
                uartRxBuffer[barcodeIndex][charIndex++] = rxChar;
            }
        }

        // Restart reception for the next character
        HAL_UART_Receive_IT(&huart1, &rxChar, 1);
    }
    if (huart->Instance == USART6) {  // Check if it's USART6
        if (rxChar == '\n' || rxChar == '\r') {  // End of message determined by newline or return
        	uartRxBuffer[barcodeIndex][charIndex] = '\0';  // Null-terminate the message
            barcodeIndex++;  // Move to the next barcode slot
            charIndex = 0;  // Reset character index

            if (barcodeIndex >= MAX_BARCODES) {  // Prevent buffer overflow
                barcodeIndex = 0;  // Overwrite old messages (circular buffer)
            }
        } else {  // Store character
            if (charIndex < MAX_BARCODE_LEN - 1) {  // Prevent overflow
            	uartRxBuffer[barcodeIndex][charIndex++] = rxChar;
            }
        }

        // Restart reception for the next character
        HAL_UART_Receive_IT(&huart6, &rxChar, 1);
    }
}

/* USER CODE END 4 */

void Error_Handler(void)
{
  __disable_irq();
  while (1)
  {
  }
}
